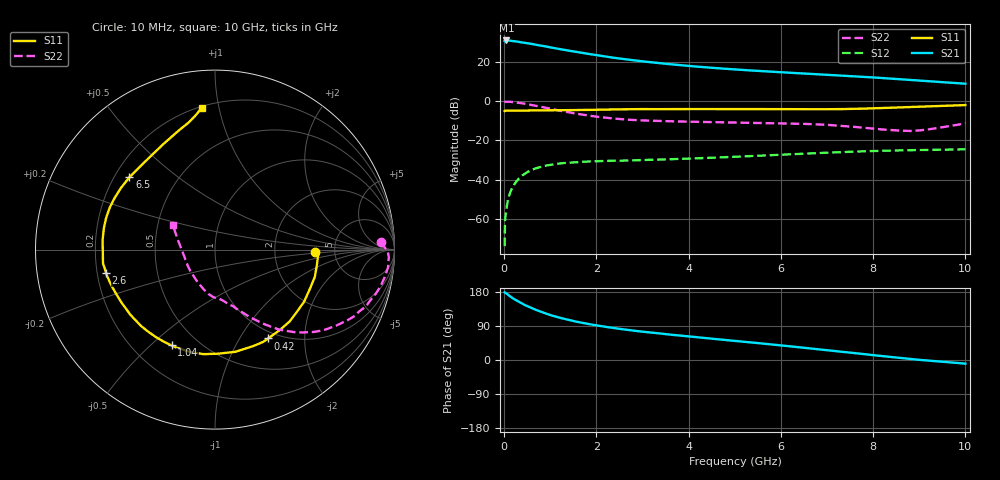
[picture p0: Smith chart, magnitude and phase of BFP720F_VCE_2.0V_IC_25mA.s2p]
! Infineon Technologies  Discrete & RF Semiconductors
! BFP720F
! VCE =  2.0 V,  IC =  25 mA
! Common Emitter S-Parameters:  Jan 2016
# GHz  S  MA  R  50
!  f  S11  S21  S12  S22
! GHz  MAG  ANG  MAG  ANG  MAG  ANG  MAG  ANG
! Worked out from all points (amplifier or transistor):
!   233 points, 10 MHz to 10 GHz, reference 50 ohm
!   highest |S21| = 31.0 dB at 50 MHz (marker M1)
!   |S21| within 3 dB of that: start of sweep to 893.2 MHz
!   unconditionally stable (mu >= 1): start of sweep to 18.84 MHz; 4.331 GHz to end of sweep
!   at 200 MHz: K = 0.16, MSG = 36.9 dB, |S12| = -43.2 dB
!   at 1.74 GHz: K = 0.53, MSG = 27.7 dB, |S12| = -30.9 dB
!   at 10 GHz: K = 1.22, MAG = 13.9 dB, |S12| = -24.6 dB
!   S11 on the Smith chart (normalised r, x): 10 MHz: 3.53, -0.14; 420 MHz: 0.90, -1.34; 1.04 GHz: 0.36, -0.58; 2.6 GHz: 0.24, -0.10; 6.5 GHz: 0.26, +0.34; 10 GHz: 0.21, +0.89
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0.01  0.5586 -1.4  34.27 178.8  0.0002 -47.5  0.9259 2.6
0.02  0.5752 -2.8  35.22 177.4  0.0009 91.1  0.9631 -0.8
0.05  0.5745 -7.6  35.38 175.6  0.0018 81.4  0.9693 -2.4
0.1  0.5766 -15.4  35.35 170.7  0.0036 81.6  0.9692 -5.9
0.2  0.5751 -30.3  34.01 162.0  0.0069 77.2  0.9459 -12.2
0.3  0.5771 -44.0  32.87 154.7  0.01 71.6  0.9119 -17.8
0.42  0.5767 -59.1  31.13 147.0  0.0134 65.8  0.8692 -24.0
0.6  0.5806 -78.7  28.88 136.8  0.0177 58.0  0.7952 -32.3
0.7  0.5804 -88.5  27.26 131.7  0.0196 54.3  0.7569 -36.2
0.8  0.5861 -96.4  26.25 127.0  0.0212 51.0  0.7178 -39.7
1.04  0.586 -114.4  23.12 117.2  0.0242 44.1  0.6272 -46.9
1.36  0.5909 -132.4  19.81 106.7  0.0268 37.7  0.5304 -54.1
1.68  0.5955 -145.7  17.16 98.4  0.0283 33.3  0.4551 -59.8
2.02  0.6039 -156.0  14.83 90.9  0.0294 30.5  0.4002 -64.6
2.6  0.6214 -167.9  11.84 80.6  0.0305 28.0  0.3425 -70.9
3.4  0.6264 177.6  9.236 69.6  0.0325 28.0  0.3115 -76.3
4  0.6306 169.1  7.905 62.0  0.0342 28.4  0.2993 -78.5
5.1  0.6304 157.2  6.336 49.3  0.0386 29.2  0.2831 -82.4
6.5  0.6244 139.8  5.08 32.2  0.0459 27.5  0.2638 -92.4
6.8  0.6224 135.2  4.848 28.4  0.0475 26.6  0.2548 -96.0
8.4  0.6816 109.3  3.76 7.7  0.055 20.1  0.1823 -138.7
10  0.7945 95.4  2.789 -9.6  0.0591 14.1  0.2703 150.0
